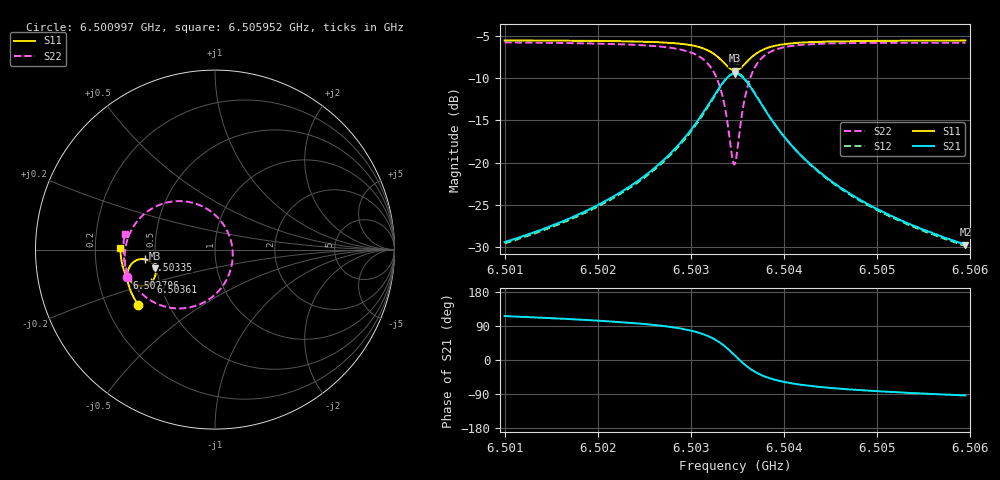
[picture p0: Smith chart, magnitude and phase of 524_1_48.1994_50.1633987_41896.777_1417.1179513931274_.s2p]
#  HZ  S  RI  R  50.00
! Rohde & Schwarz Vector Network Analyzer
! Rohde-Schwarz,ZNB20-2Port,1311601062101988,3.16
! Created: UTC 3/20/2024, 11:59:35 AM
! freq[Hz]  re:S11  im:S11  re:S21  im:S21  re:S12  im:S12  re:S22  im:S22
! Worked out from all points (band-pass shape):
!   401 points, 6.500997 GHz to 6.505952 GHz, reference 50 ohm
!   highest |S21| = -9.47 dB at 6.503474 GHz (marker M1); lowest = -29.7 dB at 6.505952 GHz (marker M2)
!   |S21| within 3 dB of the highest: 6.503227 GHz to 6.503722 GHz (495.8 kHz wide, 0.00762 % of centre)
!   lowest |S11| = -9.1 dB at 6.503474 GHz (marker M3), VSWR 2.08, Z = 24.5 - j5.86 ohm
!   |S11| at or under -10 dB: nowhere
!   |S22| runs from -20.2 to -5.8 dB; largest |S21 - S12| = 0.011
!   S11 on the Smith chart (normalised r, x): 6.500997 GHz: 0.34, -0.29; 6.502706 GHz: 0.33, -0.14; 6.50335 GHz: 0.44, -0.06; 6.50361 GHz: 0.45, -0.19; 6.505952 GHz: 0.31, +0.01
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6.5009968e9  -0.4281 -0.3076  -0.015 0.0305  -0.0131 0.0307  -0.4907 -0.1514
6.5018267e9  -0.4636 -0.2458  -0.0141 0.0486  -0.0117 0.0481  -0.5032 -0.0625
6.5022602e9  -0.4789 -0.2073  -0.0114 0.0668  -0.00852 0.0658  -0.5003 -0.000831
6.5026566e9  -0.4883 -0.1633  -0.00176 0.0981  0.00162 0.0958  -0.4796 0.0788
6.5027062e9  -0.4886 -0.1566  0.000674 0.1039  0.00417 0.1013  -0.4742 0.0915
6.5029415e9  -0.4855 -0.1198  0.0231 0.1403  0.0266 0.1363  -0.4273 0.1655
6.5031026e9  -0.4711 -0.0876  0.0619 0.1761  0.0647 0.1706  -0.3517 0.2289
6.5032512e9  -0.4339 -0.0578  0.1428 0.205  0.1435 0.1992  -0.2044 0.2702
6.5033503e9  -0.3877 -0.0547  0.2336 0.189  0.2337 0.1848  -0.0475 0.2285
6.503437e9  -0.345 -0.0831  0.3116 0.1155  0.3141 0.1119  0.0771 0.0839
6.5034618e9  -0.3369 -0.0973  0.3251 0.0839  0.3284 0.0796  0.0944 0.0244
6.5034742e9  -0.3341 -0.105  0.3294 0.0671  0.333 0.0623  0.0982 -0.00653
6.5034989e9  -0.3309 -0.1211  0.3331 0.0329  0.3371 0.0267  0.0963 -0.0694
6.5035361e9  -0.333 -0.145  0.326 -0.0171  0.3298 -0.0254  0.0697 -0.1578
6.5036104e9  -0.355 -0.1819  0.28 -0.0933  0.2804 -0.1042  -0.0388 -0.2807
6.5037095e9  -0.3956 -0.2015  0.2026 -0.1369  0.1981 -0.1466  -0.1968 -0.328
6.5038705e9  -0.4447 -0.194  0.115 -0.1364  0.1083 -0.1419  -0.3561 -0.2848
6.504044e9  -0.4737 -0.1729  0.0672 -0.116  0.0611 -0.1184  -0.4339 -0.2181
6.5043041e9  -0.4962 -0.1414  0.0344 -0.0895  0.0298 -0.0902  -0.4814 -0.1405
6.5047005e9  -0.5126 -0.0997  0.0143 -0.0647  0.0112 -0.0642  -0.5048 -0.0612
6.505134e9  -0.5213 -0.0595  0.00525 -0.0489  0.00291 -0.0483  -0.5104 0.000548
6.5059515e9  -0.5265 0.0101  -0.00205 -0.0328  -0.0033 -0.032  -0.5028 0.0878
